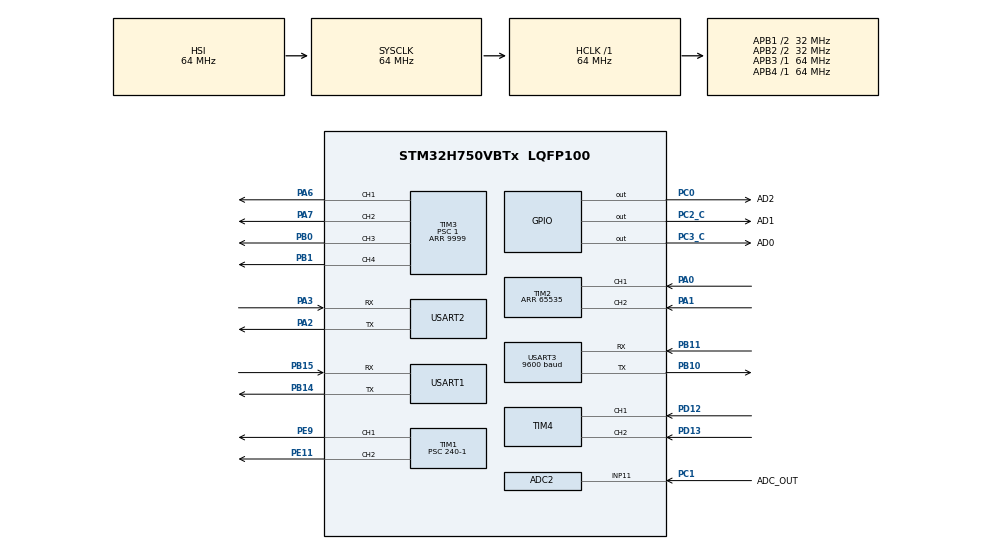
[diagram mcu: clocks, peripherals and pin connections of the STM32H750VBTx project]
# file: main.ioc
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ADC2.Channel-0\#ChannelRegularConversion=ADC_CHANNEL_11
ADC2.NbrOfConversionFlag=1
ADC2.OffsetNumber-0\#ChannelRegularConversion=ADC_OFFSET_NONE
ADC2.OffsetSignedSaturation-0\#ChannelRegularConversion=DISABLE
ADC2.Rank-0\#ChannelRegularConversion=1
ADC2.SamplingTime-0\#ChannelRegularConversion=ADC_SAMPLETIME_64CYCLES_5
CORTEX_M7.default_mode_Activation=1
Mcu.Family=STM32H7
Mcu.Name=STM32H750VBTx
Mcu.Package=LQFP100
NVIC.PriorityGroup=NVIC_PRIORITYGROUP_4
NVIC.TIM6_DAC_IRQn=true\:0\:0\:false\:false\:true\:true\:true\:true
NVIC.USART1_IRQn=true\:0\:0\:false\:false\:true\:true\:true\:true
NVIC.USART2_IRQn=true\:0\:0\:false\:false\:true\:true\:true\:true
PA0.Signal=S_TIM2_CH1_ETR
PA1.Signal=S_TIM2_CH2
PA2.Mode=Asynchronous
PA2.Signal=USART2_TX
PA3.Mode=Asynchronous
PA3.Signal=USART2_RX
PA6.Signal=S_TIM3_CH1
PA7.Signal=S_TIM3_CH2
PB0.Signal=S_TIM3_CH3
PB1.Signal=S_TIM3_CH4
PB10.Mode=Asynchronous
PB10.Signal=USART3_TX
PB11.Mode=Asynchronous
PB11.Signal=USART3_RX
PB14.Mode=Asynchronous
PB14.Signal=USART1_TX
PB15.Mode=Asynchronous
PB15.Signal=USART1_RX
PC0.GPIO_Label=AD2
PC0.Signal=GPIO_Output
PC1.GPIO_Label=ADC_OUT
PC1.Signal=ADCx_INP11
PC2_C.GPIO_Label=AD1
PC2_C.Signal=GPIO_Output
PC3_C.GPIO_Label=AD0
PC3_C.Signal=GPIO_Output
PD12.Signal=S_TIM4_CH1
PD13.Signal=S_TIM4_CH2
PE11.Signal=S_TIM1_CH2
PE9.Signal=S_TIM1_CH1
PH0-OSC_IN\ (PH0).Mode=HSE-External-Oscillator
PH0-OSC_IN\ (PH0).Signal=RCC_OSC_IN
PH1-OSC_OUT\ (PH1).Mode=HSE-External-Oscillator
PH1-OSC_OUT\ (PH1).Signal=RCC_OSC_OUT
ProjectManager.HeapSize=0x200
ProjectManager.StackSize=0x400
ProjectManager.TargetToolchain=CMake
RCC.ADCFreq_Value=75000000
RCC.APB1Freq_Value=32000000
RCC.APB2Freq_Value=32000000
RCC.APB3Freq_Value=64000000
RCC.APB4Freq_Value=64000000
RCC.CortexFreq_Value=64000000
RCC.D2PPRE1=RCC_APB1_DIV2
RCC.D2PPRE2=RCC_APB2_DIV2
RCC.DIVM2=4
RCC.DIVN2=9
RCC.HCLKFreq_Value=64000000
RCC.PLL2FRACN=3072
RCC.SYSCLKFreq_VALUE=64000000
RCC.USBFreq_Value=129000000
SH.ADCx_INP11.0=ADC2_INP11,IN11-Single-Ended
SH.S_TIM1_CH1.0=TIM1_CH1,PWM Generation1 CH1
SH.S_TIM1_CH2.0=TIM1_CH2,PWM Generation2 CH2
SH.S_TIM2_CH1_ETR.0=TIM2_CH1,Encoder_Interface
SH.S_TIM2_CH2.0=TIM2_CH2,Encoder_Interface
SH.S_TIM3_CH1.0=TIM3_CH1,PWM Generation1 CH1
SH.S_TIM3_CH2.0=TIM3_CH2,PWM Generation2 CH2
SH.S_TIM3_CH3.0=TIM3_CH3,PWM Generation3 CH3
SH.S_TIM3_CH4.0=TIM3_CH4,PWM Generation4 CH4
SH.S_TIM4_CH1.0=TIM4_CH1,Encoder_Interface
SH.S_TIM4_CH2.0=TIM4_CH2,Encoder_Interface
TIM1.Channel-PWM\ Generation1\ CH1=TIM_CHANNEL_1
TIM1.Channel-PWM\ Generation2\ CH2=TIM_CHANNEL_2
TIM1.Period=20000-1
TIM1.Prescaler=240-1
TIM2.EncoderMode=TIM_ENCODERMODE_TI12
TIM2.Period=65535
TIM3.Channel-PWM\ Generation1\ CH1=TIM_CHANNEL_1
TIM3.Channel-PWM\ Generation2\ CH2=TIM_CHANNEL_2
TIM3.Channel-PWM\ Generation3\ CH3=TIM_CHANNEL_3
TIM3.Channel-PWM\ Generation4\ CH4=TIM_CHANNEL_4
TIM3.Period=9999
TIM3.Prescaler=1
TIM4.EncoderMode=TIM_ENCODERMODE_TI12
TIM6.Period=100-1
TIM6.Prescaler=24000
USART1.VirtualMode-Asynchronous=VM_ASYNC
USART2.VirtualMode-Asynchronous=VM_ASYNC
USART3.BaudRate=9600
USART3.VirtualMode-Asynchronous=VM_ASYNC
VP_MEMORYMAP_VS_MEMORYMAP.Mode=CurAppReg
VP_TIM3_VS_ClockSourceINT.Mode=Internal
VP_TIM6_VS_ClockSourceINT.Mode=Enable_Timer
board=custom

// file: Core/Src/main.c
/* USER CODE BEGIN Header */
/**
  ******************************************************************************
  * @file           : main.c
  * @brief          : Main program body
  ******************************************************************************
  * @attention
  *
  * Copyright (c) 2026 STMicroelectronics.
  * All rights reserved.
  *
  * This software is licensed under terms that can be found in the LICENSE file
  * in the root directory of this software component.
  * If no LICENSE file comes with this software, it is provided AS-IS.
  *
  ******************************************************************************
  */
/* USER CODE END Header */
#include "main.h"
#include "adc.h"
#include "tim.h"
#include "usart.h"
#include "gpio.h"

/* USER CODE BEGIN Includes */
#include "maixcam_uart.h"
#include "wheel.h"
#include "app_config.h"

/* USER CODE END Includes */

void SystemClock_Config(void);
static void MPU_Config(void);

int main(void)
{

  /* MPU Configuration--------------------------------------------------------*/
  MPU_Config();

  /* MCU Configuration--------------------------------------------------------*/

  /* Reset of all peripherals, Initializes the Flash interface and the Systick. */
  HAL_Init();

  /* Configure the system clock */
  SystemClock_Config();

  /* Initialize all configured peripherals */
  MX_GPIO_Init();
  MX_USART1_UART_Init();
  MX_TIM1_Init();
  MX_TIM2_Init();
  MX_TIM3_Init();
  MX_TIM4_Init();
  MX_TIM6_Init();
  MX_USART3_UART_Init();
  MX_ADC2_Init();
  MX_USART2_UART_Init();
  /* USER CODE BEGIN 2 */
  Wheel_Init();
#if APP_MAIXCAM_ENABLE
  MaixCamUart_Init();
#endif

  /* USER CODE END 2 */

  /* Infinite loop */
  while (1)
  {

    /* USER CODE BEGIN 3 */
#if APP_MAIXCAM_ENABLE
    MaixCamUart_Process();
#endif
    Wheel_Update();
  }
  /* USER CODE END 3 */
}

void SystemClock_Config(void)
{
  RCC_OscInitTypeDef RCC_OscInitStruct = {0};
  RCC_ClkInitTypeDef RCC_ClkInitStruct = {0};

  /** Supply configuration update enable
  */
  HAL_PWREx_ConfigSupply(PWR_LDO_SUPPLY);

  /** Configure the main internal regulator output voltage
  */
  __HAL_PWR_VOLTAGESCALING_CONFIG(PWR_REGULATOR_VOLTAGE_SCALE3);

  while(!__HAL_PWR_GET_FLAG(PWR_FLAG_VOSRDY)) {}

  /** Macro to configure the PLL clock source
  */
  __HAL_RCC_PLL_PLLSOURCE_CONFIG(RCC_PLLSOURCE_HSI);

  /** Initializes the RCC Oscillators according to the specified parameters
  * in the RCC_OscInitTypeDef structure.
  */
  RCC_OscInitStruct.OscillatorType = RCC_OSCILLATORTYPE_HSI;
  RCC_OscInitStruct.HSIState = RCC_HSI_DIV1;
  RCC_OscInitStruct.HSICalibrationValue = RCC_HSICALIBRATION_DEFAULT;
  RCC_OscInitStruct.PLL.PLLState = RCC_PLL_NONE;
  if (HAL_RCC_OscConfig(&RCC_OscInitStruct) != HAL_OK)
  {
    Error_Handler();
  }

  /** Initializes the CPU, AHB and APB buses clocks
  */
  RCC_ClkInitStruct.ClockType = RCC_CLOCKTYPE_HCLK|RCC_CLOCKTYPE_SYSCLK
                              |RCC_CLOCKTYPE_PCLK1|RCC_CLOCKTYPE_PCLK2
                              |RCC_CLOCKTYPE_D3PCLK1|RCC_CLOCKTYPE_D1PCLK1;
  RCC_ClkInitStruct.SYSCLKSource = RCC_SYSCLKSOURCE_HSI;
  RCC_ClkInitStruct.SYSCLKDivider = RCC_SYSCLK_DIV1;
  RCC_ClkInitStruct.AHBCLKDivider = RCC_HCLK_DIV1;
  RCC_ClkInitStruct.APB3CLKDivider = RCC_APB3_DIV1;
  RCC_ClkInitStruct.APB1CLKDivider = RCC_APB1_DIV2;
  RCC_ClkInitStruct.APB2CLKDivider = RCC_APB2_DIV2;
  RCC_ClkInitStruct.APB4CLKDivider = RCC_APB4_DIV1;

  if (HAL_RCC_ClockConfig(&RCC_ClkInitStruct, FLASH_LATENCY_1) != HAL_OK)
  {
    Error_Handler();
  }
}

/* USER CODE BEGIN 4 */
void HAL_UART_RxCpltCallback(UART_HandleTypeDef *huart)
{
  MaixCamUart_OnRxCplt(huart);
}

void HAL_UART_ErrorCallback(UART_HandleTypeDef *huart)
{
  MaixCamUart_OnError(huart);
}

/* USER CODE END 4 */

 /* MPU Configuration */

void MPU_Config(void)
{
  MPU_Region_InitTypeDef MPU_InitStruct = {0};

  /* Disables the MPU */
  HAL_MPU_Disable();

  /** Initializes and configures the Region and the memory to be protected
  */
  MPU_InitStruct.Enable = MPU_REGION_ENABLE;
  MPU_InitStruct.Number = MPU_REGION_NUMBER0;
  MPU_InitStruct.BaseAddress = 0x0;
  MPU_InitStruct.Size = MPU_REGION_SIZE_4GB;
  MPU_InitStruct.SubRegionDisable = 0x87;
  MPU_InitStruct.TypeExtField = MPU_TEX_LEVEL0;
  MPU_InitStruct.AccessPermission = MPU_REGION_NO_ACCESS;
  MPU_InitStruct.DisableExec = MPU_INSTRUCTION_ACCESS_DISABLE;
  MPU_InitStruct.IsShareable = MPU_ACCESS_SHAREABLE;
  MPU_InitStruct.IsCacheable = MPU_ACCESS_NOT_CACHEABLE;
  MPU_InitStruct.IsBufferable = MPU_ACCESS_NOT_BUFFERABLE;

  HAL_MPU_ConfigRegion(&MPU_InitStruct);
  /* Enables the MPU */
  HAL_MPU_Enable(MPU_PRIVILEGED_DEFAULT);

}

void Error_Handler(void)
{
  __disable_irq();
  while (1)
  {
  }
}
